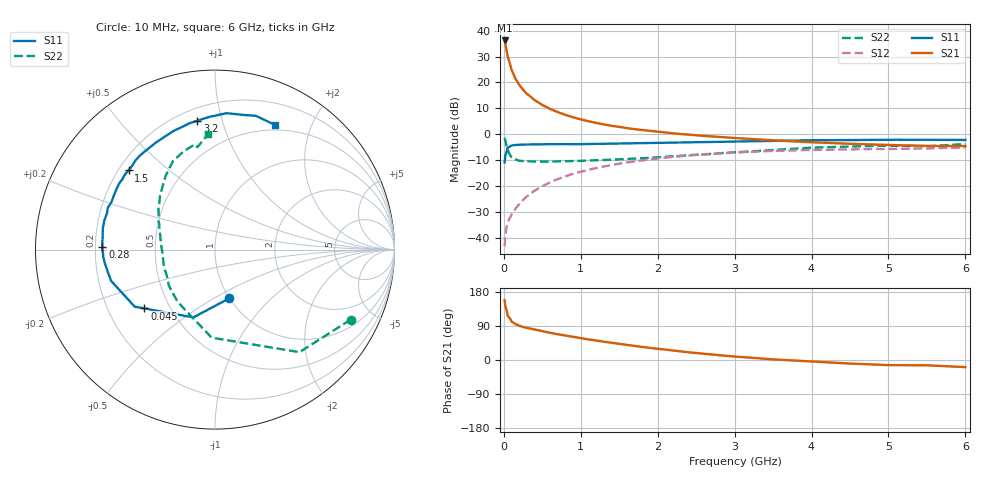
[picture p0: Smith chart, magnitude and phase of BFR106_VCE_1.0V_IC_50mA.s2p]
! Infineon Technologies  Discrete & RF Semiconductors
! BFR106
! VCE =  1.0 V,  IC =  50 mA
! Common Emitter S-Parameters:  Nov 2015
# GHz  S  MA  R  50
!  f  S11  S21  S12  S22
! GHz  MAG  ANG  MAG  ANG  MAG  ANG  MAG  ANG
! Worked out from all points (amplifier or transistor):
!   210 points, 10 MHz to 6 GHz, reference 50 ohm
!   highest |S21| = 36.2 dB at 10 MHz (marker M1)
!   |S21| within 3 dB of that: start of sweep to 30.23 MHz
!   unconditionally stable (mu >= 1): 199.7 MHz to end of sweep
!   at 185 MHz: K = 0.98, MSG = 23.7 dB, |S12| = -27.6 dB
!   at 1.52 GHz: K = 1.07, MAG = 5.4 dB, |S12| = -11.3 dB
!   at 6 GHz: K = 1.02, MAG = -0.7 dB, |S12| = -5.2 dB
!   S11 on the Smith chart (normalised r, x): 10 MHz: 1.00, -0.59; 45 MHz: 0.36, -0.32; 280 MHz: 0.23, +0.01; 1.5 GHz: 0.24, +0.37; 3.2 GHz: 0.28, +0.83; 6 GHz: 0.44, +1.50
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0.01  0.283 -73.8  64.61 157.9  0.0068 74.6  0.8503 -27.3
0.02  0.3965 -107.7  54.28 141.4  0.0116 62.6  0.7405 -50.5
0.045  0.5117 -140.2  34.71 122.6  0.0183 55.4  0.508 -82.9
0.05  0.5488 -144.6  31.57 116.2  0.0197 54.6  0.491 -92.2
0.1  0.6049 -163.3  17.36 101.4  0.0274 57.8  0.358 -125.6
0.15  0.6168 -171.8  11.8 94.7  0.0358 61.8  0.3262 -142.0
0.2  0.6236 -176.1  8.945 90.4  0.0443 64.9  0.3056 -151.4
0.24  0.6261 -178.9  7.504 87.9  0.0516 66.4  0.3011 -157.3
0.28  0.6279 178.7  6.451 85.7  0.0587 67.7  0.2992 -161.3
0.3  0.6289 177.6  5.989 84.6  0.0622 68.3  0.2986 -162.9
0.4  0.6301 173.2  4.537 80.1  0.0803 69.2  0.295 -169.7
0.5  0.6363 169.3  3.65 76.0  0.0983 69.0  0.2934 -174.5
0.6  0.6374 165.1  3.066 71.8  0.1165 68.3  0.2938 -177.8
0.7  0.635 161.3  2.659 67.9  0.1344 67.3  0.2973 179.4
1.02  0.6399 151.2  1.89 57.2  0.1902 62.3  0.3041 171.5
1.5  0.6532 137.5  1.385 42.6  0.2678 53.8  0.3251 161.7
2.02  0.6737 123.6  1.099 29.2  0.3395 44.1  0.3591 151.5
3.1  0.7209 99.6  0.822 7.7  0.4454 25.3  0.4525 130.5
3.2  0.7245 97.8  0.805 6.3  0.4518 23.7  0.4625 128.7
4.1  0.7626 83.9  0.685 -5.0  0.4961 10.7  0.5507 113.8
5.1  0.7776 72.1  0.61 -13.6  0.5179 -0.5  0.5932 100.7
6  0.7706 64.2  0.587 -18.8  0.5489 -8.9  0.6426 93.5
